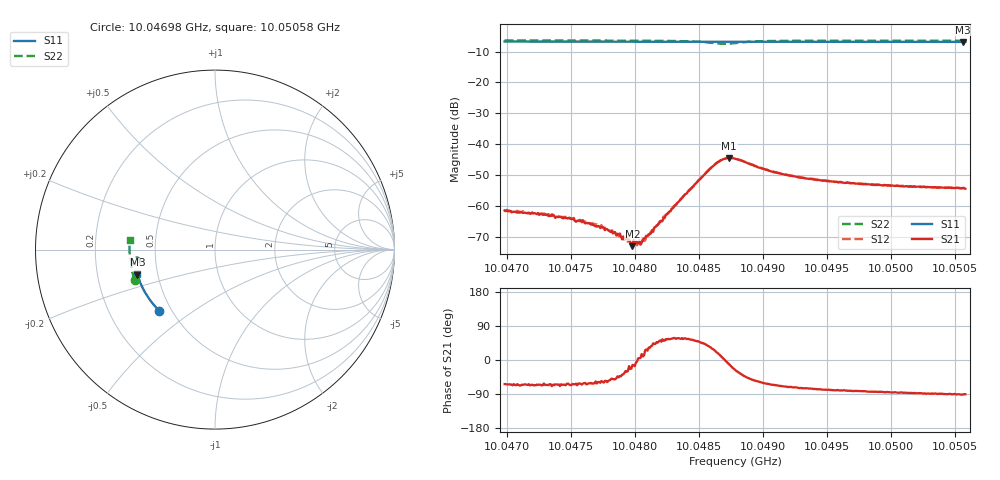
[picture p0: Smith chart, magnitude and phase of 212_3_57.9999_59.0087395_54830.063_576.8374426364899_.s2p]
#  HZ  S  RI  R  50.00
! Rohde & Schwarz Vector Network Analyzer
! Rohde-Schwarz,ZNB20-2Port,1311601062101988,3.16
! Created: UTC 3/21/2024, 12:59:48 AM
! freq[Hz]  re:S11  im:S11  re:S21  im:S21  re:S12  im:S12  re:S22  im:S22
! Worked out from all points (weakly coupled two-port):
!   401 points, 10.04698 GHz to 10.05058 GHz, reference 50 ohm
!   highest |S21| = -44.47 dB at 10.04873 GHz (marker M1); lowest = -73.1 dB at 10.04798 GHz (marker M2)
!   lowest |S11| = -6.9 dB at 10.05056 GHz (marker M3), VSWR 2.66, Z = 19.2 - j6.73 ohm
!   |S11| at or under -10 dB: nowhere
!   |S22| runs from -7.5 to -6.4 dB; largest |S21 - S12| = 0.00043
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1.0046978e10  -0.3113 -0.3394  0.000372 -0.00075  0.000387 -0.000729  -0.4482 -0.1705
1.004733e10  -0.3276 -0.3226  0.000297 -0.000607  0.00033 -0.000617  -0.4554 -0.1474
1.0047501e10  -0.3352 -0.3141  0.00025 -0.000554  0.000333 -0.000525  -0.4586 -0.1355
1.0047582e10  -0.3388 -0.3102  0.00023 -0.000488  0.000279 -0.000512  -0.46 -0.1298
1.0047717e10  -0.3445 -0.3034  0.000244 -0.000392  0.000287 -0.000389  -0.462 -0.1203
1.0047861e10  -0.3506 -0.296  0.000257 -0.000239  0.00026 -0.00025  -0.464 -0.1097
1.0047951e10  -0.3541 -0.2911  0.000268 -7.71e-05  0.000262 -8.64e-05  -0.4648 -0.1026
1.0047978e10  -0.3551 -0.2897  0.000215 -4.98e-05  0.000262 -7.26e-05  -0.4651 -0.1004
1.0048032e10  -0.3575 -0.2869  0.000257 2.17e-05  0.000271 4.87e-05  -0.4655 -0.0962
1.0048059e10  -0.3584 -0.2855  0.00028 4.57e-05  0.000277 0.000109  -0.4656 -0.094
1.0048122e10  -0.3611 -0.2823  0.000286 0.000209  0.000278 0.000251  -0.4659 -0.0885
1.0048185e10  -0.3635 -0.2788  0.000336 0.000393  0.000342 0.000407  -0.4658 -0.0828
1.0048374e10  -0.3707 -0.2685  0.000796 0.00116  0.000717 0.00123  -0.4625 -0.0635
1.0048599e10  -0.3784 -0.256  0.00368 0.00215  0.00354 0.00239  -0.4348 -0.0439
1.0048671e10  -0.3808 -0.2521  0.00541 0.000889  0.0054 0.00124  -0.42 -0.0537
1.0048734e10  -0.3828 -0.2488  0.00584 -0.00126  0.00593 -0.000881  -0.4196 -0.0712
1.0048779e10  -0.3845 -0.2463  0.0052 -0.00251  0.00543 -0.00221  -0.4277 -0.0796
1.0049068e10  -0.3943 -0.2301  0.00149 -0.00328  0.00173 -0.00322  -0.466 -0.0628
1.0049383e10  -0.4039 -0.2114  0.000676 -0.00262  0.000792 -0.00259  -0.4742 -0.0346
1.0049986e10  -0.4201 -0.1751  0.000185 -0.00211  0.000315 -0.00212  -0.4765 0.0104
1.0050562e10  -0.4322 -0.1394  -3.8e-05 -0.00193  7.57e-05 -0.00195  -0.4738 0.0498
1.005058e10  -0.4326 -0.1383  -9.63e-06 -0.00189  5.5e-05 -0.00193  -0.4736 0.0512
